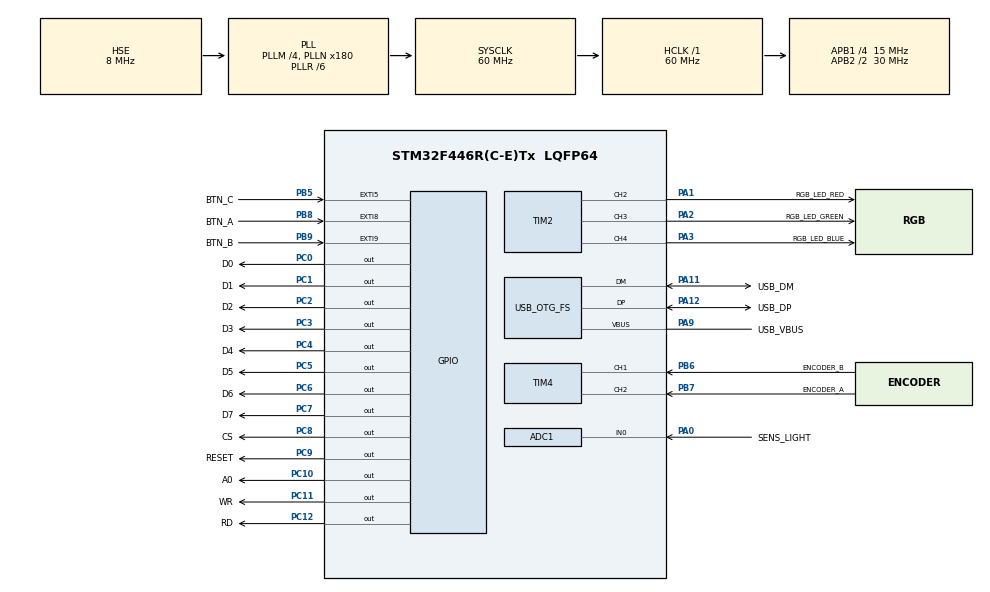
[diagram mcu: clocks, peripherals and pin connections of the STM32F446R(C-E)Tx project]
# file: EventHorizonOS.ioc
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ADC1.Channel-0\#ChannelRegularConversion=ADC_CHANNEL_0
ADC1.NbrOfConversionFlag=1
ADC1.Rank-0\#ChannelRegularConversion=1
ADC1.Resolution=ADC_RESOLUTION_8B
ADC1.SamplingTime-0\#ChannelRegularConversion=ADC_SAMPLETIME_3CYCLES
ADC1.master=1
Mcu.Family=STM32F4
Mcu.Name=STM32F446R(C-E)Tx
Mcu.Package=LQFP64
NVIC.EXTI9_5_IRQn=true\:0\:0\:false\:true\:true\:1
NVIC.OTG_FS_IRQn=true\:0\:0\:false\:false\:true
NVIC.PriorityGroup=NVIC_PRIORITYGROUP_4
PA0-WKUP.GPIO_Label=SENS_LIGHT
PA0-WKUP.Signal=ADCx_IN0
PA1.GPIO_Label=RGB_LED_RED
PA1.Signal=S_TIM2_CH2
PA11.GPIO_Label=USB_DM
PA11.Mode=Device_Only
PA11.Signal=USB_OTG_FS_DM
PA12.GPIO_Label=USB_DP
PA12.Mode=Device_Only
PA12.Signal=USB_OTG_FS_DP
PA13.GPIO_Label=SWDIO
PA13.Mode=Serial_Wire
PA13.Signal=SYS_JTMS-SWDIO
PA14.GPIO_Label=SWCLK
PA14.Mode=Serial_Wire
PA14.Signal=SYS_JTCK-SWCLK
PA2.GPIO_Label=RGB_LED_GREEN
PA2.Signal=S_TIM2_CH3
PA3.GPIO_Label=RGB_LED_BLUE
PA3.Signal=S_TIM2_CH4
PA9.GPIO_Label=USB_VBUS
PA9.Mode=Activate_VBUS
PA9.Signal=USB_OTG_FS_VBUS
PB5.GPIO_Label=BTN_C
PB5.Signal=GPXTI5
PB6.GPIO_Label=ENCODER_B
PB6.Signal=S_TIM4_CH1
PB7.GPIO_Label=ENCODER_A
PB7.Signal=S_TIM4_CH2
PB8.GPIO_Label=BTN_A
PB8.Signal=GPXTI8
PB9.GPIO_Label=BTN_B
PB9.Signal=GPXTI9
PC0.GPIO_Label=D0
PC0.Signal=GPIO_Output
PC1.GPIO_Label=D1
PC1.Signal=GPIO_Output
PC10.GPIO_Label=A0
PC10.Signal=GPIO_Output
PC11.GPIO_Label=WR
PC11.Signal=GPIO_Output
PC12.GPIO_Label=RD
PC12.Signal=GPIO_Output
PC14-OSC32_IN.GPIO_Label=WATCH_CRYSTAL_IN
PC14-OSC32_IN.Mode=LSE-External-Oscillator
PC14-OSC32_IN.Signal=RCC_OSC32_IN
PC15-OSC32_OUT.GPIO_Label=WATCH_CRYSTAL_OUT
PC15-OSC32_OUT.Mode=LSE-External-Oscillator
PC15-OSC32_OUT.Signal=RCC_OSC32_OUT
PC2.GPIO_Label=D2
PC2.Signal=GPIO_Output
PC3.GPIO_Label=D3
PC3.Signal=GPIO_Output
PC4.GPIO_Label=D4
PC4.Signal=GPIO_Output
PC5.GPIO_Label=D5
PC5.Signal=GPIO_Output
PC6.GPIO_Label=D6
PC6.Signal=GPIO_Output
PC7.GPIO_Label=D7
PC7.Signal=GPIO_Output
PC8.GPIO_Label=CS
PC8.Signal=GPIO_Output
PC9.GPIO_Label=RESET
PC9.Signal=GPIO_Output
PH0-OSC_IN.GPIO_Label=_8MHZ_CRYSTAL_IN
PH0-OSC_IN.Mode=HSE-External-Oscillator
PH0-OSC_IN.Signal=RCC_OSC_IN
PH1-OSC_OUT.GPIO_Label=_8MHZ_CRYSTAL_OUT
PH1-OSC_OUT.Mode=HSE-External-Oscillator
PH1-OSC_OUT.Signal=RCC_OSC_OUT
ProjectManager.HeapSize=0x1000
ProjectManager.StackSize=0x1000
ProjectManager.TargetToolchain=MDK-ARM V5
RCC.AHBFreq_Value=60000000
RCC.APB1CLKDivider=RCC_HCLK_DIV4
RCC.APB1Freq_Value=15000000
RCC.APB1TimFreq_Value=30000000
RCC.APB2CLKDivider=RCC_HCLK_DIV2
RCC.APB2Freq_Value=30000000
RCC.APB2TimFreq_Value=60000000
RCC.CortexFreq_Value=60000000
RCC.HCLKFreq_Value=60000000
RCC.HSE_Timout=1000
RCC.HSE_VALUE=8000000
RCC.LSE_Timout=50000
RCC.PLLM=4
RCC.PLLN=180
RCC.PLLQ=9
RCC.PLLR=6
RCC.PLLSAIM=4
RCC.PLLSAIP=RCC_PLLSAIP_DIV8
RCC.RCC_RTC_Clock_SourceVirtual=RCC_RTCCLKSOURCE_LSE
RCC.SYSCLKFreq_VALUE=60000000
RCC.SYSCLKSource=RCC_SYSCLKSOURCE_PLLRCLK
RCC.USBCLockSelection=RCC_CLK48CLKSOURCE_PLLSAIP
RCC.USBFreq_Value=48000000
RCC.VCOOutputFreq_Value=360000000
RCC.VDD_VALUE=3.3
RTC.Year=17
SH.ADCx_IN0.0=ADC1_IN0,IN0
SH.S_TIM2_CH2.0=TIM2_CH2,PWM Generation2 CH2
SH.S_TIM2_CH3.0=TIM2_CH3,PWM Generation3 CH3
SH.S_TIM2_CH4.0=TIM2_CH4,PWM Generation4 CH4
SH.S_TIM4_CH1.0=TIM4_CH1,Encoder_Interface
SH.S_TIM4_CH2.0=TIM4_CH2,Encoder_Interface
TIM2.Channel-PWM\ Generation2\ CH2=TIM_CHANNEL_2
TIM2.Channel-PWM\ Generation3\ CH3=TIM_CHANNEL_3
TIM2.Channel-PWM\ Generation4\ CH4=TIM_CHANNEL_4
USB_DEVICE.CLASS_NAME_FS=CDC
USB_DEVICE.MANUFACTURER_STRING-CDC_FS=TFBern
USB_DEVICE.PRODUCT_STRING_CDC_FS=EventCenter
USB_DEVICE.USBD_SUPPORT_USER_STRING-CDC_FS=1
USB_DEVICE.VirtualModeFS=Cdc_FS
USB_OTG_FS.VirtualMode=Device_Only
VP_RTC_VS_RTC_Activate.Mode=RTC_Enabled
VP_RTC_VS_RTC_Calendar.Mode=RTC_Calendar
VP_USB_DEVICE_VS_USB_DEVICE_CDC_FS.Mode=CDC_FS
board=EventHorizonOS

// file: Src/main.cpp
/**
  ******************************************************************************
  * File Name          : main.c
  * Description        : Main program body
  ******************************************************************************
  * This notice applies to any and all portions of this file
  * that are not between comment pairs USER CODE BEGIN and
  * USER CODE END. Other portions of this file, whether
  * inserted by the user or by software development tools
  * are owned by their respective copyright owners.
  *
  * Copyright (c) 2017 STMicroelectronics International N.V.
  * All rights reserved.
  *
  * Redistribution and use in source and binary forms, with or without
  * modification, are permitted, provided that the following conditions are met:
  *
  * 1. Redistribution of source code must retain the above copyright notice,
  *    this list of conditions and the following disclaimer.
  * 2. Redistributions in binary form must reproduce the above copyright notice,
  *    this list of conditions and the following disclaimer in the documentation
  *    and/or other materials provided with the distribution.
  * 3. Neither the name of STMicroelectronics nor the names of other
  *    contributors to this software may be used to endorse or promote products
  *    derived from this software without specific written permission.
  * 4. This software, including modifications and/or derivative works of this
  *    software, must execute solely and exclusively on microcontroller or
  *    microprocessor devices manufactured by or for STMicroelectronics.
  * 5. Redistribution and use of this software other than as permitted under
  *    this license is void and will automatically terminate your rights under
  *    this license.
  *
  * THIS SOFTWARE IS PROVIDED BY STMICROELECTRONICS AND CONTRIBUTORS "AS IS"
  * AND ANY EXPRESS, IMPLIED OR STATUTORY WARRANTIES, INCLUDING, BUT NOT
  * LIMITED TO, THE IMPLIED WARRANTIES OF MERCHANTABILITY, FITNESS FOR A
  * PARTICULAR PURPOSE AND NON-INFRINGEMENT OF THIRD PARTY INTELLECTUAL PROPERTY
  * RIGHTS ARE DISCLAIMED TO THE FULLEST EXTENT PERMITTED BY LAW. IN NO EVENT
  * SHALL STMICROELECTRONICS OR CONTRIBUTORS BE LIABLE FOR ANY DIRECT, INDIRECT,
  * INCIDENTAL, SPECIAL, EXEMPLARY, OR CONSEQUENTIAL DAMAGES (INCLUDING, BUT NOT
  * LIMITED TO, PROCUREMENT OF SUBSTITUTE GOODS OR SERVICES; LOSS OF USE, DATA,
  * OR PROFITS; OR BUSINESS INTERRUPTION) HOWEVER CAUSED AND ON ANY THEORY OF
  * LIABILITY, WHETHER IN CONTRACT, STRICT LIABILITY, OR TORT (INCLUDING
  * NEGLIGENCE OR OTHERWISE) ARISING IN ANY WAY OUT OF THE USE OF THIS SOFTWARE,
  * EVEN IF ADVISED OF THE POSSIBILITY OF SUCH DAMAGE.
  *
  ******************************************************************************
  */
	/* USER CODE BEGIN Includes */
extern "C" {
	#include "main.h"
	#include "stm32f4xx_hal.h"
	#include "usb_device.h"

	#include "peripherals.h"
}
#include "event_horizon.h"

/* USER CODE END Includes */

ADC_HandleTypeDef hadc1;

RTC_HandleTypeDef hrtc;

TIM_HandleTypeDef htim2;
TIM_HandleTypeDef htim4;

/* USER CODE BEGIN PV */
/* Private variables ---------------------------------------------------------*/
TIM_OC_InitTypeDef sConfigOC;

EventHorizon os;

/* USER CODE END PV */

/* USER CODE BEGIN PFP */
/* Private function prototypes -----------------------------------------------*/
extern "C" void SystemClock_Config(void);
static void MX_GPIO_Init(void);
static void MX_RTC_Init(void);
static void MX_ADC1_Init(void);
static void MX_TIM4_Init(void);
static void MX_TIM2_Init(void);
static void MX_NVIC_Init(void);

extern "C" void HAL_TIM_MspPostInit(TIM_HandleTypeDef *htim);
/* USER CODE END PFP */

int main(void)
{

  /* MCU Configuration----------------------------------------------------------*/

  /* Reset of all peripherals, Initializes the Flash interface and the Systick. */
  HAL_Init();

  /* Configure the system clock */
  SystemClock_Config();

  /* Initialize all configured peripherals */
  MX_GPIO_Init();
  MX_RTC_Init();
  MX_ADC1_Init();
  MX_TIM4_Init();
  MX_TIM2_Init();
  MX_USB_DEVICE_Init();

  /* Initialize interrupts */
  MX_NVIC_Init();

  /* USER CODE BEGIN 2 */
  HAL_ADC_Start(&hadc1);
  HAL_TIM_Base_Start(&htim4);
  HAL_TIM_Encoder_Start(&htim4, TIM_CHANNEL_1 | TIM_CHANNEL_2);
  TIM4->CNT = 100;
  /* USER CODE END 2 */

  /* Infinite loop */
  /* USER CODE BEGIN WHILE */
  os.init_os();
	while(true) {
		if(TIM4->CNT != 100)
			onEncoderTurned();

		os.start_os();
	}
  /* USER CODE END WHILE */

}

/** System Clock Configuration
*/
void SystemClock_Config(void)
{

  RCC_OscInitTypeDef RCC_OscInitStruct;
  RCC_ClkInitTypeDef RCC_ClkInitStruct;
  RCC_PeriphCLKInitTypeDef PeriphClkInitStruct;

    /**Configure the main internal regulator output voltage
    */
  __HAL_RCC_PWR_CLK_ENABLE();

  __HAL_PWR_VOLTAGESCALING_CONFIG(PWR_REGULATOR_VOLTAGE_SCALE1);

    /**Initializes the CPU, AHB and APB busses clocks
    */
  RCC_OscInitStruct.OscillatorType = RCC_OSCILLATORTYPE_HSE|RCC_OSCILLATORTYPE_LSE;
  RCC_OscInitStruct.HSEState = RCC_HSE_ON;
  RCC_OscInitStruct.LSEState = RCC_LSE_ON;
  RCC_OscInitStruct.PLL.PLLState = RCC_PLL_ON;
  RCC_OscInitStruct.PLL.PLLSource = RCC_PLLSOURCE_HSE;
  RCC_OscInitStruct.PLL.PLLM = 4;
  RCC_OscInitStruct.PLL.PLLN = 180;
  RCC_OscInitStruct.PLL.PLLP = RCC_PLLP_DIV2;
  RCC_OscInitStruct.PLL.PLLQ = 9;
  RCC_OscInitStruct.PLL.PLLR = 6;
  if (HAL_RCC_OscConfig(&RCC_OscInitStruct) != HAL_OK)
  {
    _Error_Handler(__FILE__, __LINE__);
  }

    /**Activate the Over-Drive mode
    */
  if (HAL_PWREx_EnableOverDrive() != HAL_OK)
  {
    _Error_Handler(__FILE__, __LINE__);
  }

    /**Initializes the CPU, AHB and APB busses clocks
    */
  RCC_ClkInitStruct.ClockType = RCC_CLOCKTYPE_HCLK|RCC_CLOCKTYPE_SYSCLK
                              |RCC_CLOCKTYPE_PCLK1|RCC_CLOCKTYPE_PCLK2;
  RCC_ClkInitStruct.SYSCLKSource = RCC_SYSCLKSOURCE_PLLRCLK;
  RCC_ClkInitStruct.AHBCLKDivider = RCC_SYSCLK_DIV1;
  RCC_ClkInitStruct.APB1CLKDivider = RCC_HCLK_DIV4;
  RCC_ClkInitStruct.APB2CLKDivider = RCC_HCLK_DIV2;

  if (HAL_RCC_ClockConfig(&RCC_ClkInitStruct, FLASH_LATENCY_5) != HAL_OK)
  {
    _Error_Handler(__FILE__, __LINE__);
  }

  PeriphClkInitStruct.PeriphClockSelection = RCC_PERIPHCLK_RTC|RCC_PERIPHCLK_CLK48;
  PeriphClkInitStruct.PLLSAI.PLLSAIM = 4;
  PeriphClkInitStruct.PLLSAI.PLLSAIN = 192;
  PeriphClkInitStruct.PLLSAI.PLLSAIQ = 2;
  PeriphClkInitStruct.PLLSAI.PLLSAIP = RCC_PLLSAIP_DIV8;
  PeriphClkInitStruct.PLLSAIDivQ = 1;
  PeriphClkInitStruct.RTCClockSelection = RCC_RTCCLKSOURCE_LSE;
  PeriphClkInitStruct.Clk48ClockSelection = RCC_CLK48CLKSOURCE_PLLSAIP;
  if (HAL_RCCEx_PeriphCLKConfig(&PeriphClkInitStruct) != HAL_OK)
  {
    _Error_Handler(__FILE__, __LINE__);
  }

    /**Configure the Systick interrupt time
    */
  HAL_SYSTICK_Config(HAL_RCC_GetHCLKFreq()/1000);

    /**Configure the Systick
    */
  HAL_SYSTICK_CLKSourceConfig(SYSTICK_CLKSOURCE_HCLK);

  /* SysTick_IRQn interrupt configuration */
  HAL_NVIC_SetPriority(SysTick_IRQn, 0, 0);
}

/** NVIC Configuration
*/
static void MX_NVIC_Init(void)
{
  /* EXTI9_5_IRQn interrupt configuration */
  HAL_NVIC_SetPriority(EXTI9_5_IRQn, 0, 0);
  HAL_NVIC_EnableIRQ(EXTI9_5_IRQn);
}

/* ADC1 init function */
static void MX_ADC1_Init(void)
{

  ADC_ChannelConfTypeDef sConfig;

    /**Configure the global features of the ADC (Clock, Resolution, Data Alignment and number of conversion)
    */
  hadc1.Instance = ADC1;
  hadc1.Init.ClockPrescaler = ADC_CLOCK_SYNC_PCLK_DIV4;
  hadc1.Init.Resolution = ADC_RESOLUTION_12B;
  hadc1.Init.ScanConvMode = DISABLE;
  hadc1.Init.ContinuousConvMode = DISABLE;
  hadc1.Init.DiscontinuousConvMode = DISABLE;
  hadc1.Init.ExternalTrigConvEdge = ADC_EXTERNALTRIGCONVEDGE_NONE;
  hadc1.Init.ExternalTrigConv = ADC_SOFTWARE_START;
  hadc1.Init.DataAlign = ADC_DATAALIGN_RIGHT;
  hadc1.Init.NbrOfConversion = 1;
  hadc1.Init.DMAContinuousRequests = DISABLE;
  hadc1.Init.EOCSelection = ADC_EOC_SINGLE_CONV;
  if (HAL_ADC_Init(&hadc1) != HAL_OK)
  {
    _Error_Handler(__FILE__, __LINE__);
  }

    /**Configure for the selected ADC regular channel its corresponding rank in the sequencer and its sample time.
    */
  sConfig.Channel = ADC_CHANNEL_0;
  sConfig.Rank = 1;
  sConfig.SamplingTime = ADC_SAMPLETIME_3CYCLES;
  if (HAL_ADC_ConfigChannel(&hadc1, &sConfig) != HAL_OK)
  {
    _Error_Handler(__FILE__, __LINE__);
  }

}

/* RTC init function */
static void MX_RTC_Init(void)
{

  HAL_PWR_EnableBkUpAccess();
  __HAL_RCC_RTC_ENABLE();
  RTC_TimeTypeDef sTime;
  RTC_DateTypeDef sDate;

    /**Initialize RTC Only
    */
  hrtc.Instance = RTC;
  hrtc.Init.HourFormat = RTC_HOURFORMAT_24;
  hrtc.Init.AsynchPrediv = 127;
  hrtc.Init.SynchPrediv = 255;
  hrtc.Init.OutPut = RTC_OUTPUT_DISABLE;
  hrtc.Init.OutPutPolarity = RTC_OUTPUT_POLARITY_HIGH;
  hrtc.Init.OutPutType = RTC_OUTPUT_TYPE_OPENDRAIN;
  if (HAL_RTC_Init(&hrtc) != HAL_OK)
  {
    _Error_Handler(__FILE__, __LINE__);
  }

    /**Initialize RTC and set the Time and Date
    */
  if(HAL_RTCEx_BKUPRead(&hrtc, RTC_BKP_DR0) != 0x32F2){
  sTime.Hours = 0x0;
  sTime.Minutes = 0x0;
  sTime.Seconds = 0x0;
  sTime.DayLightSaving = RTC_DAYLIGHTSAVING_NONE;
  sTime.StoreOperation = RTC_STOREOPERATION_SET;
  if (HAL_RTC_SetTime(&hrtc, &sTime, FORMAT_BIN) != HAL_OK)
  {
    _Error_Handler(__FILE__, __LINE__);
  }

  sDate.WeekDay = RTC_WEEKDAY_MONDAY;
  sDate.Month = RTC_MONTH_JANUARY;
  sDate.Date = 0x1;
  sDate.Year = 0x17;

  if (HAL_RTC_SetDate(&hrtc, &sDate, FORMAT_BIN) != HAL_OK)
  {
    _Error_Handler(__FILE__, __LINE__);
  }

    HAL_RTCEx_BKUPWrite(&hrtc,RTC_BKP_DR0,0x32F2);
  }

}

/* TIM2 init function */
static void MX_TIM2_Init(void)
{

  TIM_MasterConfigTypeDef sMasterConfig;

  htim2.Instance = TIM2;
  htim2.Init.Prescaler = 0;
  htim2.Init.CounterMode = TIM_COUNTERMODE_UP;
  htim2.Init.Period = 100;
  htim2.Init.ClockDivision = TIM_CLOCKDIVISION_DIV1;
  if (HAL_TIM_PWM_Init(&htim2) != HAL_OK)
  {
    _Error_Handler(__FILE__, __LINE__);
  }

  sMasterConfig.MasterOutputTrigger = TIM_TRGO_RESET;
  sMasterConfig.MasterSlaveMode = TIM_MASTERSLAVEMODE_DISABLE;
  if (HAL_TIMEx_MasterConfigSynchronization(&htim2, &sMasterConfig) != HAL_OK)
  {
    _Error_Handler(__FILE__, __LINE__);
  }

  sConfigOC.OCMode = TIM_OCMODE_PWM1;
  sConfigOC.Pulse = 0;
  sConfigOC.OCPolarity = TIM_OCPOLARITY_HIGH;
  sConfigOC.OCFastMode = TIM_OCFAST_DISABLE;
  if (HAL_TIM_PWM_ConfigChannel(&htim2, &sConfigOC, TIM_CHANNEL_2) != HAL_OK)
  {
    _Error_Handler(__FILE__, __LINE__);
  }

  if (HAL_TIM_PWM_ConfigChannel(&htim2, &sConfigOC, TIM_CHANNEL_3) != HAL_OK)
  {
    _Error_Handler(__FILE__, __LINE__);
  }

  if (HAL_TIM_PWM_ConfigChannel(&htim2, &sConfigOC, TIM_CHANNEL_4) != HAL_OK)
  {
    _Error_Handler(__FILE__, __LINE__);
  }

  HAL_TIM_MspPostInit(&htim2);

}

/* TIM4 init function */
static void MX_TIM4_Init(void)
{

  TIM_Encoder_InitTypeDef sConfig;
  TIM_MasterConfigTypeDef sMasterConfig;

  htim4.Instance = TIM4;
  htim4.Init.Prescaler = 0;
  htim4.Init.CounterMode = TIM_COUNTERMODE_UP;
  htim4.Init.Period = 255;
  htim4.Init.ClockDivision = TIM_CLOCKDIVISION_DIV1;
  sConfig.EncoderMode = TIM_ENCODERMODE_TI1;
  sConfig.IC1Polarity = TIM_ICPOLARITY_RISING;
  sConfig.IC1Selection = TIM_ICSELECTION_DIRECTTI;
  sConfig.IC1Prescaler = TIM_ICPSC_DIV1;
  sConfig.IC1Filter = 0;
  sConfig.IC2Polarity = TIM_ICPOLARITY_RISING;
  sConfig.IC2Selection = TIM_ICSELECTION_DIRECTTI;
  sConfig.IC2Prescaler = TIM_ICPSC_DIV1;
  sConfig.IC2Filter = 0;
  if (HAL_TIM_Encoder_Init(&htim4, &sConfig) != HAL_OK)
  {
    _Error_Handler(__FILE__, __LINE__);
  }

  sMasterConfig.MasterOutputTrigger = TIM_TRGO_RESET;
  sMasterConfig.MasterSlaveMode = TIM_MASTERSLAVEMODE_DISABLE;
  if (HAL_TIMEx_MasterConfigSynchronization(&htim4, &sMasterConfig) != HAL_OK)
  {
    _Error_Handler(__FILE__, __LINE__);
  }

}

/** Configure pins as
        * Analog
        * Input
        * Output
        * EVENT_OUT
        * EXTI
*/
static void MX_GPIO_Init(void)
{

  GPIO_InitTypeDef GPIO_InitStruct;

  /* GPIO Ports Clock Enable */
  __HAL_RCC_GPIOC_CLK_ENABLE();
  __HAL_RCC_GPIOH_CLK_ENABLE();
  __HAL_RCC_GPIOA_CLK_ENABLE();
  __HAL_RCC_GPIOB_CLK_ENABLE();

  /*Configure GPIO pin Output Level */
  HAL_GPIO_WritePin(GPIOC, D0_Pin|D1_Pin|D2_Pin|D3_Pin
                          |D4_Pin|D5_Pin|D6_Pin|D7_Pin
                          |CS_Pin|RESET_Pin|A0_Pin|WR_Pin
                          |RD_Pin, GPIO_PIN_RESET);

  /*Configure GPIO pins : D0_Pin D1_Pin D2_Pin D3_Pin
                           D4_Pin D5_Pin D6_Pin D7_Pin
                           CS_Pin RESET_Pin A0_Pin WR_Pin
                           RD_Pin */
  GPIO_InitStruct.Pin = D0_Pin|D1_Pin|D2_Pin|D3_Pin
                          |D4_Pin|D5_Pin|D6_Pin|D7_Pin
                          |CS_Pin|RESET_Pin|A0_Pin|WR_Pin
                          |RD_Pin;
  GPIO_InitStruct.Mode = GPIO_MODE_OUTPUT_PP;
  GPIO_InitStruct.Pull = GPIO_NOPULL;
  GPIO_InitStruct.Speed = GPIO_SPEED_FREQ_LOW;
  HAL_GPIO_Init(GPIOC, &GPIO_InitStruct);

  /*Configure GPIO pins : PB5 PB8 PB9 */
  GPIO_InitStruct.Pin = GPIO_PIN_5;
  GPIO_InitStruct.Mode = GPIO_MODE_IT_RISING;
  GPIO_InitStruct.Pull = GPIO_NOPULL;
  HAL_GPIO_Init(GPIOB, &GPIO_InitStruct);

  GPIO_InitStruct.Pin = GPIO_PIN_8|GPIO_PIN_9;
  GPIO_InitStruct.Mode = GPIO_MODE_IT_FALLING;
  GPIO_InitStruct.Pull = GPIO_PULLUP;
  HAL_GPIO_Init(GPIOB, &GPIO_InitStruct);

}

void _Error_Handler(char * file, int line)
{
  while(1)
  {
  }
}

/************************ (C) COPYRIGHT STMicroelectronics *****END OF FILE****/
